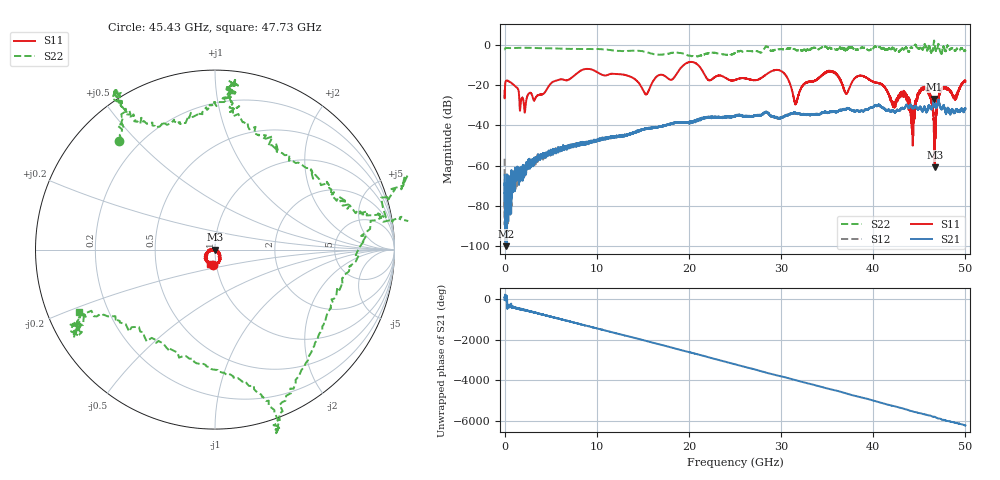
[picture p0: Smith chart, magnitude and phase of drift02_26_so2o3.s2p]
!Created with skrf (http://scikit-rf.org).
# Hz S RI R 50.0
!freq ReS11 ImS11 ReS21 ImS21 ReS12 ImS12 ReS22 ImS22
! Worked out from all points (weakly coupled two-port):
!   10001 points, 300 kHz to 50 GHz, reference 50 ohm
!   highest |S21| = -26.82 dB at 46.61 GHz (marker M1); lowest = -100.1 dB at 135.3 MHz (marker M2)
!   lowest |S11| = -60.8 dB at 46.68 GHz (marker M3), VSWR 1.00, Z = 50.1 + j0.0091 ohm
!   |S11| at or under -10 dB: start of sweep to 19.42 GHz; 21.01 GHz to end of sweep
!   |S22| runs from -5.7 to 2.3 dB; largest |S21 - S12| = 0.0033
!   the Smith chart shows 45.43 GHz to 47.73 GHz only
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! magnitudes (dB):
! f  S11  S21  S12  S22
! 300 kHz  -22.7  -64.5  -56.5  -2.1
! 135.3 MHz  -17.9  -100.1  -74.2  -1.5
! 2.185 GHz  -33.6  -64.3  -64.0  -1.3
! 8.335 GHz  -12.5  -49.1  -49.5  -1.9
! 15.34 GHz  -24.4  -41.6  -41.5  -3.4
! 16.67 GHz  -15.1  -40.8  -40.7  -4.7
! 20.28 GHz  -8.4  -38.3  -38.0  -5.5
! 25 GHz  -17.4  -35.3  -35.3  -3.9
! 29.85 GHz  -12.6  -36.4  -36.3  -2.0
! 31.59 GHz  -28.6  -33.8  -34.0  -2.4
! 33.34 GHz  -18.0  -34.2  -34.5  -1.6
! 35.6 GHz  -13.1  -33.3  -33.2  -1.6
! 37.1 GHz  -24.1  -31.7  -31.5  -2.2
! 38.76 GHz  -15.3  -32.6  -32.7  -1.0
! 41.67 GHz  -24.3  -32.2  -32.3  -1.8
! 43.4 GHz  -24.8  -31.5  -31.5  -1.9
! 44.27 GHz  -34.4  -31.1  -31.2  -1.5
! 45.69 GHz  -21.6  -32.3  -32.2  -0.6
! 46.61 GHz  -39.4  -26.8  -26.8  2.3
! 46.68 GHz  -60.8  -28.3  -28.6  0.0
! 47.47 GHz  -21.9  -31.7  -31.7  -3.3
! 50 GHz  -18.1  -31.5  -31.5  -2.6
